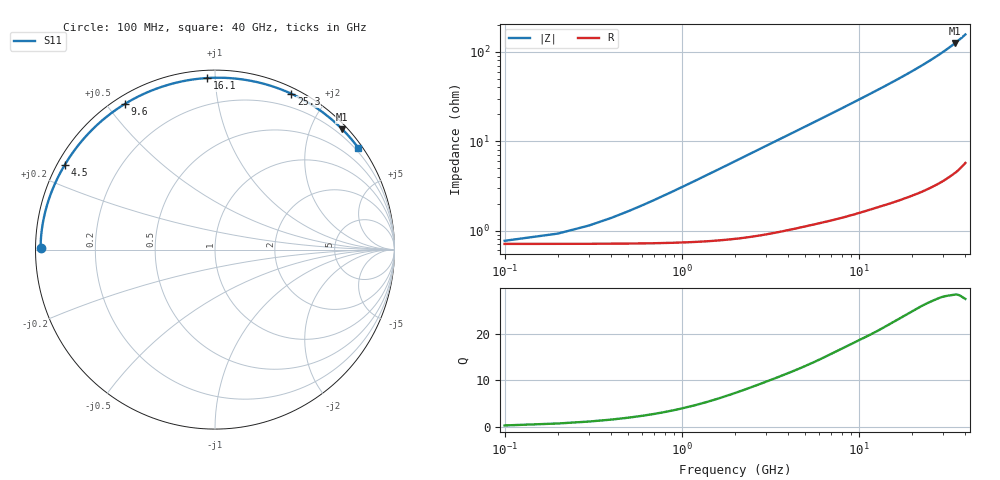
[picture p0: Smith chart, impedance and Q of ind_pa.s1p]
#  Hz  S  RI  R  50
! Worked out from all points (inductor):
!   400 points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, 100 MHz to 40 GHz, reference 50 ohm
!   read as one part to ground: L = 471 pH near 800 MHz
!   highest Q = 28.3 at 35.1 GHz (marker M1), where L = 570 pH
!   S11 on the Smith chart (normalised r, x): 100 MHz: 0.01, +0.01; 4.5 GHz: 0.02, +0.26; 9.6 GHz: 0.03, +0.56; 16.1 GHz: 0.04, +0.95; 25.3 GHz: 0.06, +1.60; 40 GHz: 0.11, +3.12
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1e8  -0.972 0.0115
1.1e9  -0.9627 0.1261
2.1e9  -0.9391 0.2365
3.2e9  -0.899 0.3504
4.5e9  -0.8367 0.4727
5.1e9  -0.8036 0.5244
6.3e9  -0.7307 0.6186
7.4e9  -0.6576 0.6939
8.5e9  -0.5802 0.7585
9.6e9  -0.5004 0.8126
1.01e10  -0.4637 0.8339
1.13e10  -0.3757 0.8769
1.25e10  -0.2888 0.9096
1.38e10  -0.197 0.9345
1.51e10  -0.1087 0.9499
1.61e10  -0.0435 0.956
1.8e10  0.0728 0.9561
2.01e10  0.1893 0.9424
2.13e10  0.2502 0.9295
2.26e10  0.3118 0.9123
2.51e10  0.4176 0.8719
2.53e10  0.4254 0.8684
2.76e10  0.5085 0.8253
3.01e10  0.5864 0.7749
3.25e10  0.6504 0.7249
3.51e10  0.7096 0.6701
3.75e10  0.7562 0.6196
4e10  0.7974 0.568
